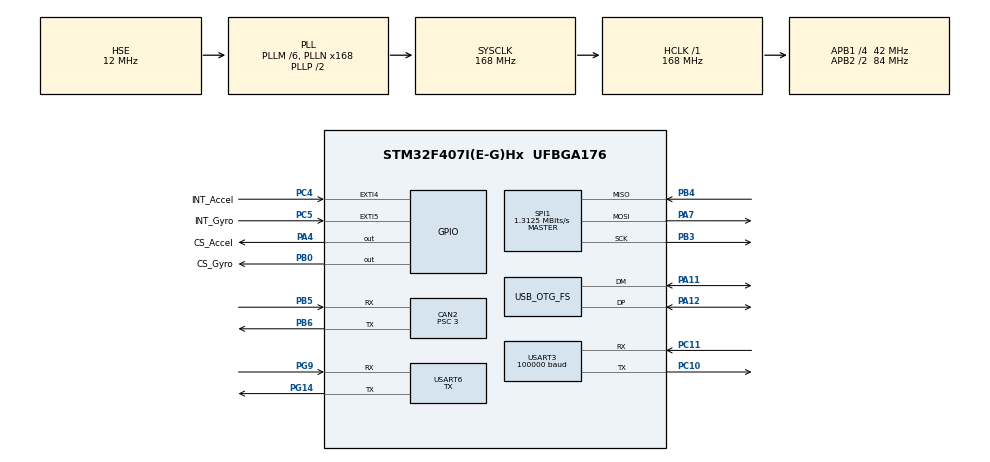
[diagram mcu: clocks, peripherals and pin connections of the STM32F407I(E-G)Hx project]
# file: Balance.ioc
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CAN2.BS1=CAN_BS1_7TQ
CAN2.BS2=CAN_BS2_6TQ
CAN2.CalculateBaudRate=1000000
CAN2.CalculateTimeBit=1000
CAN2.CalculateTimeQuantum=71.42857142857143
CAN2.NART=ENABLE
CAN2.Prescaler=3
Dma.Request0=USART3_RX
Dma.Request1=USART6_TX
Dma.USART3_RX.0.Direction=DMA_PERIPH_TO_MEMORY
Dma.USART3_RX.0.FIFOMode=DMA_FIFOMODE_DISABLE
Dma.USART3_RX.0.Instance=DMA1_Stream1
Dma.USART3_RX.0.MemDataAlignment=DMA_MDATAALIGN_BYTE
Dma.USART3_RX.0.MemInc=DMA_MINC_ENABLE
Dma.USART3_RX.0.Mode=DMA_NORMAL
Dma.USART3_RX.0.PeriphDataAlignment=DMA_PDATAALIGN_BYTE
Dma.USART3_RX.0.PeriphInc=DMA_PINC_DISABLE
Dma.USART3_RX.0.Priority=DMA_PRIORITY_HIGH
Dma.USART6_TX.1.Direction=DMA_MEMORY_TO_PERIPH
Dma.USART6_TX.1.FIFOMode=DMA_FIFOMODE_DISABLE
Dma.USART6_TX.1.Instance=DMA2_Stream6
Dma.USART6_TX.1.MemDataAlignment=DMA_MDATAALIGN_BYTE
Dma.USART6_TX.1.MemInc=DMA_MINC_ENABLE
Dma.USART6_TX.1.Mode=DMA_NORMAL
Dma.USART6_TX.1.PeriphDataAlignment=DMA_PDATAALIGN_BYTE
Dma.USART6_TX.1.PeriphInc=DMA_PINC_DISABLE
Dma.USART6_TX.1.Priority=DMA_PRIORITY_LOW
FREERTOS.INCLUDE_xEventGroupSetBitFromISR=1
FREERTOS.Tasks01=defaultTask,24,128,StartDefaultTask,Default,NULL,Dynamic,NULL,NULL
FREERTOS.configENABLE_FPU=1
FREERTOS.configGENERATE_RUN_TIME_STATS=1
FREERTOS.configMAX_TASK_NAME_LEN=64
FREERTOS.configTOTAL_HEAP_SIZE=15360
FREERTOS.configUSE_STATS_FORMATTING_FUNCTIONS=1
Mcu.Family=STM32F4
Mcu.Name=STM32F407I(E-G)Hx
Mcu.Package=UFBGA176
NVIC.CAN2_RX0_IRQn=true\:5\:0\:false\:false\:true\:true\:true\:true\:true
NVIC.DMA1_Stream1_IRQn=true\:5\:0\:false\:false\:true\:true\:false\:true\:true
NVIC.DMA2_Stream6_IRQn=true\:5\:0\:false\:false\:true\:true\:false\:true\:true
NVIC.EXTI4_IRQn=true\:5\:0\:false\:false\:true\:true\:true\:true\:true
NVIC.EXTI9_5_IRQn=true\:5\:0\:false\:false\:true\:true\:true\:true\:true
NVIC.OTG_FS_IRQn=true\:5\:0\:false\:false\:true\:true\:true\:true\:true
NVIC.PriorityGroup=NVIC_PRIORITYGROUP_4
NVIC.TIM2_IRQn=true\:15\:0\:false\:false\:true\:false\:false\:true\:true
NVIC.TimeBase=TIM2_IRQn
NVIC.TimeBaseIP=TIM2
NVIC.USART3_IRQn=true\:5\:0\:false\:false\:true\:true\:true\:true\:true
NVIC.USART6_IRQn=true\:5\:0\:false\:false\:true\:true\:true\:true\:true
PA11.Mode=Device_Only
PA11.Signal=USB_OTG_FS_DM
PA12.Mode=Device_Only
PA12.Signal=USB_OTG_FS_DP
PA13.Mode=Serial_Wire
PA13.Signal=SYS_JTMS-SWDIO
PA14.Mode=Serial_Wire
PA14.Signal=SYS_JTCK-SWCLK
PA4.GPIO_Label=CS_Accel
PA4.GPIO_ModeDefaultOutputPP=GPIO_MODE_OUTPUT_PP
PA4.GPIO_PuPd=GPIO_PULLUP
PA4.GPIO_Speed=GPIO_SPEED_FREQ_HIGH
PA4.Signal=GPIO_Output
PA7.Mode=Full_Duplex_Master
PA7.Signal=SPI1_MOSI
PB0.GPIO_Label=CS_Gyro
PB0.GPIO_PuPd=GPIO_PULLUP
PB0.GPIO_Speed=GPIO_SPEED_FREQ_HIGH
PB0.Signal=GPIO_Output
PB3.Mode=Full_Duplex_Master
PB3.Signal=SPI1_SCK
PB4.Mode=Full_Duplex_Master
PB4.Signal=SPI1_MISO
PB5.Mode=CAN_Activate
PB5.Signal=CAN2_RX
PB6.Mode=CAN_Activate
PB6.Signal=CAN2_TX
PC10.Mode=Asynchronous
PC10.Signal=USART3_TX
PC11.Mode=Asynchronous
PC11.Signal=USART3_RX
PC4.GPIO_Label=INT_Accel
PC4.GPIO_PuPd=GPIO_NOPULL
PC4.Signal=GPXTI4
PC5.GPIO_Label=INT_Gyro
PC5.Signal=GPXTI5
PG14.Mode=Asynchronous
PG14.Signal=USART6_TX
PG9.Mode=Asynchronous
PG9.Signal=USART6_RX
PH0-OSC_IN.Mode=HSE-External-Oscillator
PH0-OSC_IN.Signal=RCC_OSC_IN
PH1-OSC_OUT.Mode=HSE-External-Oscillator
PH1-OSC_OUT.Signal=RCC_OSC_OUT
ProjectManager.HeapSize=0x200
ProjectManager.StackSize=0x400
ProjectManager.TargetToolchain=CMake
RCC.48MHZClocksFreq_Value=48000000
RCC.AHBFreq_Value=168000000
RCC.APB1CLKDivider=RCC_HCLK_DIV4
RCC.APB1Freq_Value=42000000
RCC.APB1TimFreq_Value=84000000
RCC.APB2CLKDivider=RCC_HCLK_DIV2
RCC.APB2Freq_Value=84000000
RCC.APB2TimFreq_Value=168000000
RCC.CortexFreq_Value=168000000
RCC.HCLKFreq_Value=168000000
RCC.HSE_VALUE=12000000
RCC.HSI_VALUE=16000000
RCC.LSE_VALUE=32768
RCC.PLLM=6
RCC.PLLN=168
RCC.PLLQ=7
RCC.SYSCLKFreq_VALUE=168000000
RCC.SYSCLKSource=RCC_SYSCLKSOURCE_PLLCLK
RCC.VCOOutputFreq_Value=336000000
SPI1.BaudRatePrescaler=SPI_BAUDRATEPRESCALER_64
SPI1.CalculateBaudRate=1.3125 MBits/s
SPI1.Direction=SPI_DIRECTION_2LINES
SPI1.Mode=SPI_MODE_MASTER
SPI1.VirtualType=VM_MASTER
TIM3.AutoReloadPreload=TIM_AUTORELOAD_PRELOAD_ENABLE
TIM3.Period=3
TIM3.Prescaler=20
USART3.BaudRate=100000
USART3.Mode=MODE_RX
USART3.Parity=PARITY_EVEN
USART3.VirtualMode=VM_ASYNC
USART3.WordLength=WORDLENGTH_9B
USART6.Mode=MODE_TX
USART6.VirtualMode=VM_ASYNC
USB_DEVICE.CLASS_NAME_FS=CDC
USB_DEVICE.USBD_MAX_NUM_CONFIGURATION-CDC_FS=1
USB_DEVICE.USBD_MAX_NUM_INTERFACES-CDC_FS=1
USB_DEVICE.VirtualMode-CDC_FS=Cdc
USB_DEVICE.VirtualModeFS=Cdc_FS
USB_OTG_FS.VirtualMode=Device_Only
VP_FREERTOS_VS_CMSIS_V2.Mode=CMSIS_V2
VP_SYS_VS_tim2.Mode=TIM2
VP_TIM3_VS_ClockSourceINT.Mode=Internal
VP_USB_DEVICE_VS_USB_DEVICE_CDC_FS.Mode=CDC_FS
board=custom

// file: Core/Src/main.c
/* USER CODE BEGIN Header */
/**
  ******************************************************************************
  * @file           : main.c
  * @brief          : Main program body
  ******************************************************************************
  * @attention
  *
  * Copyright (c) 2026 STMicroelectronics.
  * All rights reserved.
  *
  * This software is licensed under terms that can be found in the LICENSE file
  * in the root directory of this software component.
  * If no LICENSE file comes with this software, it is provided AS-IS.
  *
  ******************************************************************************
  */
/* USER CODE END Header */
#include "main.h"
#include "cmsis_os.h"
#include "can.h"
#include "dma.h"
#include "spi.h"
#include "tim.h"
#include "usart.h"
#include "usb_device.h"
#include "gpio.h"

void SystemClock_Config(void);
void MX_FREERTOS_Init(void);

int main(void)
{

  /* MCU Configuration--------------------------------------------------------*/

  /* Reset of all peripherals, Initializes the Flash interface and the Systick. */
  HAL_Init();

  /* Configure the system clock */
  SystemClock_Config();

  /* Initialize all configured peripherals */
  MX_GPIO_Init();
  MX_DMA_Init();
  MX_CAN2_Init();
  MX_SPI1_Init();
  MX_USART3_UART_Init();
  MX_TIM3_Init();
  MX_USART6_UART_Init();
  /* USER CODE BEGIN 2 */
  HAL_NVIC_DisableIRQ(EXTI1_IRQn);
  HAL_NVIC_DisableIRQ(EXTI9_5_IRQn);
  HAL_CAN_Start(&hcan2);
  HAL_CAN_ActivateNotification(&hcan2, CAN_IT_RX_FIFO0_MSG_PENDING);
  /* USER CODE END 2 */

  /* Init scheduler */
  osKernelInitialize();  /* Call init function for freertos objects (in cmsis_os2.c) */
  MX_FREERTOS_Init();

  /* Start scheduler */
  osKernelStart();

  /* We should never get here as control is now taken by the scheduler */

  /* Infinite loop */
  while (1)
  {

  }
}

void SystemClock_Config(void)
{
  RCC_OscInitTypeDef RCC_OscInitStruct = {0};
  RCC_ClkInitTypeDef RCC_ClkInitStruct = {0};

  /** Configure the main internal regulator output voltage
  */
  __HAL_RCC_PWR_CLK_ENABLE();
  __HAL_PWR_VOLTAGESCALING_CONFIG(PWR_REGULATOR_VOLTAGE_SCALE1);

  /** Initializes the RCC Oscillators according to the specified parameters
  * in the RCC_OscInitTypeDef structure.
  */
  RCC_OscInitStruct.OscillatorType = RCC_OSCILLATORTYPE_HSE;
  RCC_OscInitStruct.HSEState = RCC_HSE_ON;
  RCC_OscInitStruct.PLL.PLLState = RCC_PLL_ON;
  RCC_OscInitStruct.PLL.PLLSource = RCC_PLLSOURCE_HSE;
  RCC_OscInitStruct.PLL.PLLM = 6;
  RCC_OscInitStruct.PLL.PLLN = 168;
  RCC_OscInitStruct.PLL.PLLP = RCC_PLLP_DIV2;
  RCC_OscInitStruct.PLL.PLLQ = 7;
  if (HAL_RCC_OscConfig(&RCC_OscInitStruct) != HAL_OK)
  {
    Error_Handler();
  }

  /** Initializes the CPU, AHB and APB buses clocks
  */
  RCC_ClkInitStruct.ClockType = RCC_CLOCKTYPE_HCLK|RCC_CLOCKTYPE_SYSCLK
                              |RCC_CLOCKTYPE_PCLK1|RCC_CLOCKTYPE_PCLK2;
  RCC_ClkInitStruct.SYSCLKSource = RCC_SYSCLKSOURCE_PLLCLK;
  RCC_ClkInitStruct.AHBCLKDivider = RCC_SYSCLK_DIV1;
  RCC_ClkInitStruct.APB1CLKDivider = RCC_HCLK_DIV4;
  RCC_ClkInitStruct.APB2CLKDivider = RCC_HCLK_DIV2;

  if (HAL_RCC_ClockConfig(&RCC_ClkInitStruct, FLASH_LATENCY_5) != HAL_OK)
  {
    Error_Handler();
  }
}

/* USER CODE BEGIN 4 */

volatile uint32_t ulHighFrequencyTimerTicks = 0;

/* USER CODE END 4 */

void HAL_TIM_PeriodElapsedCallback(TIM_HandleTypeDef *htim)
{
  /* USER CODE BEGIN Callback 0 */
  if (htim->Instance == TIM3)
  {
    ulHighFrequencyTimerTicks++;
    return;
  }
  /* USER CODE END Callback 0 */
  if (htim->Instance == TIM2)
  {
    HAL_IncTick();
  }
}

void Error_Handler(void)
{
  __disable_irq();
  while (1)
  {
  }
}

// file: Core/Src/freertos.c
/* USER CODE BEGIN Header */
/**
 ******************************************************************************
 * File Name          : freertos.c
 * Description        : Code for freertos applications
 ******************************************************************************
 * @attention
 *
 * Copyright (c) 2026 STMicroelectronics.
 * All rights reserved.
 *
 * This software is licensed under terms that can be found in the LICENSE file
 * in the root directory of this software component.
 * If no LICENSE file comes with this software, it is provided AS-IS.
 *
 ******************************************************************************
 */
/* USER CODE END Header */

#include "FreeRTOS.h"
#include "task.h"
#include "main.h"
#include "cmsis_os.h"

/* USER CODE BEGIN Variables */
osThreadId_t imuTaskHandle;
const osThreadAttr_t imuTask_attributes = {
    .name = "imuTask",
    .stack_size = 100 * 16,
    .priority = (osPriority_t)osPriorityAboveNormal,
};

osThreadId_t controlTaskHandle;
const osThreadAttr_t controlTask_attributes = {
    .name = "controlTask",
    .stack_size = 100 * 4,
    .priority = (osPriority_t)osPriorityAboveNormal,
};

osThreadId_t chassisTaskHandle;
const osThreadAttr_t chassisTask_attributes = {
    .name = "chassisTask",
    .stack_size = 100 * 32,
    .priority = (osPriority_t)osPriorityNormal,
};

osThreadId_t motorUpdateTaskHandle;
const osThreadAttr_t motorUpdateTask_attributes = {
    .name = "motorUpdateTask",
    .stack_size = 100 * 8,
    .priority = (osPriority_t)osPriorityAboveNormal,
};

osThreadId_t vofaTaskHandle;
const osThreadAttr_t vofaTask_attributes = {
    .name = "vofaTask",
    .stack_size = 100 * 4,
    .priority = (osPriority_t)osPriorityAboveNormal,
};

osSemaphoreId_t motorUpdateSemHandle;
const osSemaphoreAttr_t motorUpdateSem_attributes = {
    .name = "motorUpdateSem",
    .attr_bits = 0,
};

osEventFlagsId_t initEventHandle;
const osEventFlagsAttr_t initEvent_attributes = {
    .name = "initEvent",
    .attr_bits = 0,
};

osEventFlagsId_t imuUpdateEventHandle;
const osEventFlagsAttr_t imuUpdateEvent_attributes = {
    .name = "imuUpdateEvent",
    .attr_bits = 0,
};

osEventFlagsId_t motorInitHandle;
const osEventFlagsAttr_t motorInitEvent_attributes = {
    .name = "motorInitHandle",
    .attr_bits = 0,
};

/* USER CODE END Variables */
/* Definitions for defaultTask */
osThreadId_t defaultTaskHandle;
const osThreadAttr_t defaultTask_attributes = {
  .name = "defaultTask",
  .stack_size = 128 * 4,
  .priority = (osPriority_t) osPriorityNormal,
};

/* USER CODE BEGIN FunctionPrototypes */

extern void ControlTask(void *argument);
extern void ImuTask(void *argument);
extern void ChassisTask(void *argument);
extern void MotorUpdateTask(void *argument);
extern void VofaTask(void *argument);

/* USER CODE END FunctionPrototypes */

void StartDefaultTask(void *argument);

extern void MX_USB_DEVICE_Init(void);
void MX_FREERTOS_Init(void); /* (MISRA C 2004 rule 8.1) */

/* Hook prototypes */
void configureTimerForRunTimeStats(void);
unsigned long getRunTimeCounterValue(void);

/* USER CODE BEGIN 1 */
/* Functions needed when configGENERATE_RUN_TIME_STATS is on */
__weak void configureTimerForRunTimeStats(void)
{
}

__weak unsigned long getRunTimeCounterValue(void)
{
  return 0;
}
/* USER CODE END 1 */

void MX_FREERTOS_Init(void) {

  /* USER CODE BEGIN RTOS_SEMAPHORES */
  /* add semaphores, ... */
  motorUpdateSemHandle = osSemaphoreNew(1, 0, &motorUpdateSem_attributes);
  /* USER CODE END RTOS_SEMAPHORES */

  /* Create the thread(s) */
  /* creation of defaultTask */
  defaultTaskHandle = osThreadNew(StartDefaultTask, NULL, &defaultTask_attributes);

  /* USER CODE BEGIN RTOS_THREADS */
  /* add threads, ... */
  controlTaskHandle = osThreadNew(ControlTask, NULL, &controlTask_attributes);
  imuTaskHandle = osThreadNew(ImuTask, NULL, &imuTask_attributes);
  chassisTaskHandle = osThreadNew(ChassisTask, NULL, &chassisTask_attributes);
  motorUpdateTaskHandle = osThreadNew(MotorUpdateTask, NULL, &motorUpdateTask_attributes);
  vofaTaskHandle = osThreadNew(VofaTask, NULL, &vofaTask_attributes);
  /* USER CODE END RTOS_THREADS */

  /* USER CODE BEGIN RTOS_EVENTS */
  /* add events, ... */
  imuUpdateEventHandle = osEventFlagsNew(&imuUpdateEvent_attributes);
  initEventHandle = osEventFlagsNew(&initEvent_attributes);
  motorInitHandle = osEventFlagsNew(&motorInitEvent_attributes);
  /* USER CODE END RTOS_EVENTS */

}

void StartDefaultTask(void *argument)
{
  /* init code for USB_DEVICE */
  MX_USB_DEVICE_Init();
  /* USER CODE BEGIN StartDefaultTask */
  /* Infinite loop */
  for(;;)
  {
    osDelay(1000);
  }
  /* USER CODE END StartDefaultTask */
}
